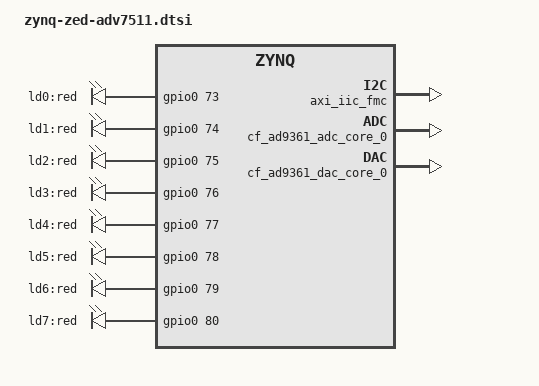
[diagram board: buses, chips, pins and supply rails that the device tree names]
/ {
	fpga_axi: fpga-axi@0 {
		compatible = "simple-bus";
		#address-cells = <1>;
		#size-cells = <1>;
		ranges ;
		axi_iic_fmc: i2c@41620000 {
			compatible = "xlnx,axi-iic-2.1", "xlnx,xps-iic-2.00.a";
			reg = <0x41620000 0x10000>;
			clock-names = "s_axi_aclk";
			clocks = <&clkc 15>;
			interrupt-names = "iic2intc_irpt";
			interrupt-parent = <&intc>;
			interrupts = <0 34 4>;
			#address-cells = <1>;
			#size-cells = <0>;
		};
		openwifi_ip_axi_dma_0: dma@80400000 {
			#dma-cells = <1>;
			clock-names = "s_axi_lite_aclk", "m_axi_sg_aclk", "m_axi_mm2s_aclk", "m_axi_s2mm_aclk";
			clocks = <&misc_clk_0>, <&misc_clk_0>, <&misc_clk_0>, <&misc_clk_0>;
			compatible = "xlnx,axi-dma-7.1", "xlnx,axi-dma-1.00.a";
			interrupt-names = "mm2s_introut", "s2mm_introut";
			interrupt-parent = <&intc>;
			interrupts = <0 54 4 0 53 4>;
			reg = <0x80400000 0x10000>;
			xlnx,addrwidth = <0x20>;
			xlnx,include-sg ;
			xlnx,sg-length-width = <0xe>;
			dma-channel@80400000 {
				compatible = "xlnx,axi-dma-mm2s-channel";
				dma-channels = <0x1>;
				interrupts = <0 54 4>;
				xlnx,datawidth = <0x40>;
				xlnx,device-id = <0x0>;
				xlnx,include-dre ;
			};
			dma-channel@80400030 {
				compatible = "xlnx,axi-dma-s2mm-channel";
				dma-channels = <0x1>;
				interrupts = <0 53 4>;
				xlnx,datawidth = <0x40>;
				xlnx,device-id = <0x0>;
				xlnx,include-dre ;
			};
		};
		misc_clk_0: misc_clk_0 {
			#clock-cells = <0>;
			clock-frequency = <100000000>;
			compatible = "fixed-clock";
		};
		openwifi_ip_axi_dma_1: dma@80410000 {
			#dma-cells = <1>;
			clock-names = "s_axi_lite_aclk", "m_axi_sg_aclk", "m_axi_mm2s_aclk", "m_axi_s2mm_aclk";
			clocks = <&misc_clk_0>, <&misc_clk_0>, <&misc_clk_0>, <&misc_clk_0>;
			compatible = "xlnx,axi-dma-7.1", "xlnx,axi-dma-1.00.a";
			dma-coherent ;
			interrupt-names = "mm2s_introut", "s2mm_introut";
			interrupt-parent = <&intc>;
			interrupts = <0 57 4 0 56 4>;
			reg = <0x80410000 0x10000>;
			xlnx,addrwidth = <0x20>;
			xlnx,include-sg ;
			xlnx,sg-length-width = <0xe>;
			dma-channel@80410000 {
				compatible = "xlnx,axi-dma-mm2s-channel";
				dma-channels = <0x1>;
				interrupts = <0 57 4>;
				xlnx,datawidth = <0x40>;
				xlnx,device-id = <0x1>;
				xlnx,include-dre ;
			};
			dma-channel@80410030 {
				compatible = "xlnx,axi-dma-s2mm-channel";
				dma-channels = <0x1>;
				interrupts = <0 56 4>;
				xlnx,datawidth = <0x40>;
				xlnx,device-id = <0x1>;
				xlnx,include-dre ;
			};
		};
		openwifi_ip_tx_intf_0: tx_intf@83c00000 {
			clock-names = "dac_clk", "s00_axi_aclk", "s00_axis_aclk";
			clocks = <&misc_clk_1>, <&misc_clk_0>, <&misc_clk_0>;
			compatible = "xlnx,tx-intf-1.0";
			reg = <0x83c00000 0x10000>;
			xlnx,s00-axi-addr-width = <0x7>;
			xlnx,s00-axi-data-width = <0x20>;
		};
		openwifi_ip_rx_intf_0: rx_intf@83c20000 {
			clock-names = "adc_clk", "s00_axi_aclk", "m00_axis_aclk";
			clocks = <&misc_clk_1>, <&misc_clk_0>, <&misc_clk_0>;
			compatible = "xlnx,rx-intf-1.0";
			interrupt-names = "rx_pkt_intr";
			interrupt-parent = <&intc>;
			interrupts = <0 58 4>;
			reg = <0x83c20000 0x10000>;
			xlnx,s00-axi-addr-width = <0x7>;
			xlnx,s00-axi-data-width = <0x20>;
		};
		openwifi_ip_openofdm_tx_0: openofdm_tx@83c10000 {
			clock-names = "clk", "s00_axi_aclk";
			clocks = <&misc_clk_0>, <&misc_clk_0>;
			compatible = "xlnx,openofdm-tx-1.0";
			reg = <0x83c10000 0x10000>;
			xlnx,s00-axi-addr-width = <0x7>;
			xlnx,s00-axi-data-width = <0x20>;
		};
		openwifi_ip_openofdm_rx_0: openofdm_rx@83c30000 {
			clock-names = "s00_axi_aclk";
			clocks = <&misc_clk_0>;
			compatible = "xlnx,openofdm-rx-1.0";
			reg = <0x83c30000 0x10000>;
			xlnx,s00-axi-addr-width = <0x7>;
			xlnx,s00-axi-data-width = <0x20>;
		};
		openwifi_ip_xpu_0: xpu@83c40000 {
			clock-names = "ps_clk", "s00_axi_aclk";
			clocks = <&clkc 15>, <&misc_clk_0>;
			compatible = "xlnx,xpu-1.0";
			reg = <0x83c40000 0x10000>;
			xlnx,s00-axi-addr-width = <0x8>;
			xlnx,s00-axi-data-width = <0x20>;
		};
		openwifi_ip_side_ch_0: side_ch@83c50000 {
			clock-names = "m00_axis_aclk", "s00_axis_aclk", "s00_axi_aclk";
			clocks = <&misc_clk_0>, <&misc_clk_0>, <&misc_clk_0>;
			compatible = "xlnx,side-ch-1.0";
			reg = <0x83c50000 0x10000>;
			xlnx,s00-axi-addr-width = <0x7>;
			xlnx,s00-axi-data-width = <0x20>;
		};
		misc_clk_1: misc_clk_1 {
			#clock-cells = <0>;
			clock-frequency = <40000000>;
			compatible = "fixed-clock";
		};

		// sdr: sdr {
		// 	compatible ="sdr,sdr";
		// 	dmas = <&rx_dma 1 &tx_dma 0>;
		// 	dma-names = "rx_dma_s2mm", "tx_dma_mm2s";
		// 	interrupt-names = "not_valid_anymore", "rx_pkt_intr", "tx_itrpt";
		// 	interrupt-parent = <1>;
		// 	interrupts = <0 29 1 0 30 1 0 33 1 0 34 1>;
		// };

		// axidmatest_1: axidmatest@1 {
		// 	compatible ="xlnx,axi-dma-test-1.00.a";
		// 	dmas = <&rx_dma 0 &rx_dma 1>;
		// 	dma-names = "axidma0", "axidma1";
		// };

		// rx_dma: dma@7c400000 {
		// 	compatible = "adi,axi-dmac-1.00.a";
		// 	reg = <0x7c400000 0x10000>;
		// 	#dma-cells = <1>;
		// 	interrupts = <0 57 0>;
		// 	clocks = <&clkc 16>;

		// 	adi,channels {
		// 		#size-cells = <0>;
		// 		#address-cells = <1>;

		// 		dma-channel@0 {
		// 			reg = <0>;
		// 			adi,source-bus-width = <64>;
		// 			adi,source-bus-type = <2>;
		// 			adi,destination-bus-width = <64>;
		// 			adi,destination-bus-type = <0>;
		// 		};
		// 	};
		// };

		// tx_dma: dma@7c420000 {
		// 	compatible = "adi,axi-dmac-1.00.a";
		// 	reg = <0x7c420000 0x10000>;
		// 	#dma-cells = <1>;
		// 	interrupts = <0 56 0>;
		// 	clocks = <&clkc 16>;

		// 	adi,channels {
		// 		#size-cells = <0>;
		// 		#address-cells = <1>;

		// 		dma-channel@0 {
		// 			reg = <0>;
		// 			adi,source-bus-width = <64>;
		// 			adi,source-bus-type = <0>;
		// 			adi,destination-bus-width = <64>;
		// 			adi,destination-bus-type = <2>;
		// 		};
		// 	};
		// };

		cf_ad9361_adc_core_0: cf-ad9361-lpc@79020000 {
			compatible = "adi,axi-ad9361-6.00.a";
			reg = <0x79020000 0x6000>;
			// dmas = <&rx_dma 0>;
			// dma-names = "rx";

			spibus-connected = <&adc0_ad9361>;
		};

		cf_ad9361_dac_core_0: cf-ad9361-dds-core-lpc@79024000 {
			compatible = "adi,axi-ad9361-dds-6.00.a";
			reg = <0x79024000 0x1000>;
			clocks = <&adc0_ad9361 13>;
			clock-names = "sampl_clk";
			// dmas = <&tx_dma 0>;
			// dma-names = "tx";
		};
	};

	leds {
		compatible = "gpio-leds";
		ld0 {
			label = "ld0:red";
			gpios = <&gpio0 73 0>;
		};

		ld1 {
			label = "ld1:red";
			gpios = <&gpio0 74 0>;
		};

		ld2 {
			label = "ld2:red";
			gpios = <&gpio0 75 0>;
		};

		ld3 {
			label = "ld3:red";
			gpios = <&gpio0 76 0>;
		};

		ld4 {
			label = "ld4:red";
			gpios = <&gpio0 77 0>;
		};

		ld5 {
			label = "ld5:red";
			gpios = <&gpio0 78 0>;
		};

		ld6 {
			label = "ld6:red";
			gpios = <&gpio0 79 0>;
		};

		ld7 {
			label = "ld7:red";
			gpios = <&gpio0 80 0>;
		};
	};
};
